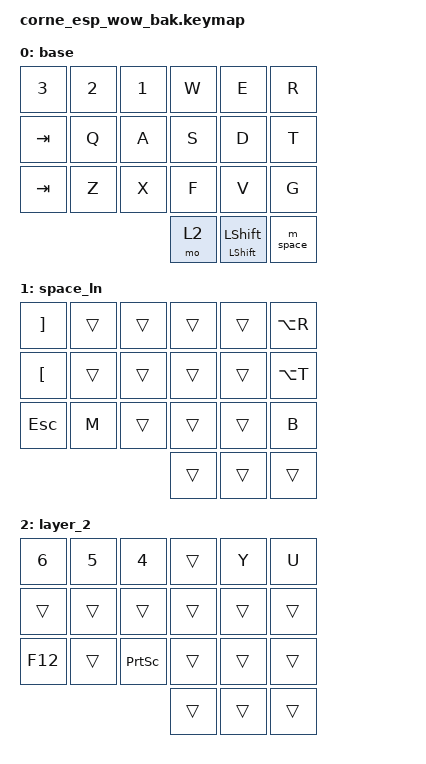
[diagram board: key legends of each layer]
#include <behaviors.dtsi>
#include <dt-bindings/zmk/keys.h>

/ {
    behaviors {
        ht_space: ht_space {
            compatible = "zmk,behavior-hold-tap";
            label = "HT_SPACE";
            bindings = <&mo>, <&kp>;

            #binding-cells = <2>;
            tapping-term-ms = <200>;
            quick-tap-ms = <150>;
            flavor = "tap-preferred";
        };

        ht_shift: ht_shift {
            compatible = "zmk,behavior-hold-tap";
            label = "HT_SHIFT";
            bindings = <&kp>, <&sk>;

            #binding-cells = <2>;
            tapping-term-ms = <200>;
            flavor = "balanced";
        };
    };

    macros {
        m_space: m_space {
            compatible = "zmk,behavior-macro";
            #binding-cells = <0>;
            bindings =
                <&macro_press>,
                <&mo 1 &kp SPACE>,
                <&macro_pause_for_release>,
                <&macro_release>,
                <&mo 1 &kp SPACE>;

            label = "M_SPACE";
        };
    };

    keymap {
        compatible = "zmk,keymap";

        base {
            bindings = <
&kp N3   &kp N2  &kp N1  &kp W  &kp E                    &kp R
&kp TAB  &kp Q   &kp A   &kp S  &kp D                    &kp T
&kp TAB  &kp Z   &kp X   &kp F  &kp V                    &kp G
                         &mo 2  &ht_shift LSHIFT LSHIFT  &m_space
            >;
        };

        space_ln {
            bindings = <
&kp RIGHT_BRACKET  &trans  &trans  &trans  &trans  &kp LA(R)
&kp LEFT_BRACKET   &trans  &trans  &trans  &trans  &kp LA(T)
&kp ESCAPE         &kp M   &trans  &trans  &trans  &kp B
                                   &trans  &trans  &trans
            >;
        };

        layer_2 {
            bindings = <
&kp N6   &kp N5  &kp N4           &trans  &kp Y   &kp U
&trans   &trans  &trans           &trans  &trans  &trans
&kp F12  &trans  &kp PRINTSCREEN  &trans  &trans  &trans
                                  &trans  &trans  &trans
            >;
        };
    };
};
